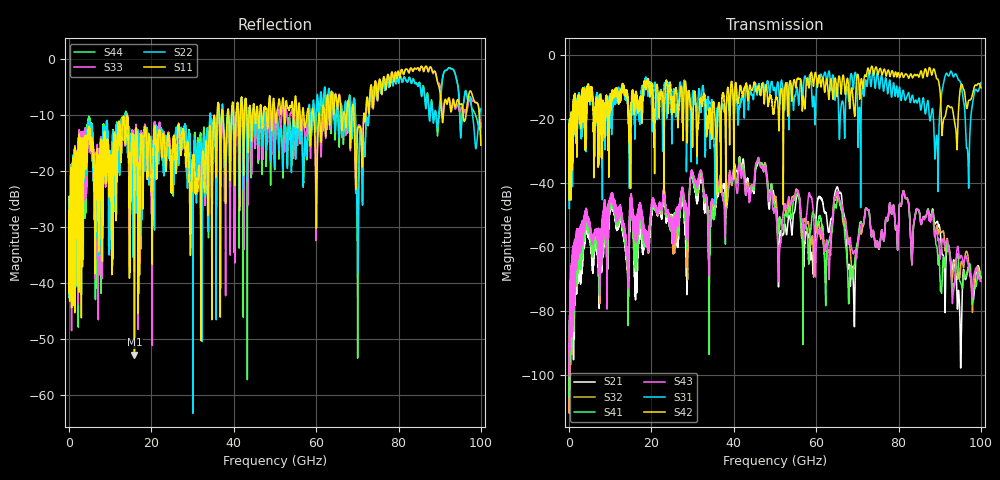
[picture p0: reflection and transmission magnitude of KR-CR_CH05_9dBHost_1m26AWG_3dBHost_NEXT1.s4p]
# GHz S MA R 50.00
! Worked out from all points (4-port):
!   10000 points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, 10 MHz to 100 GHz, reference 50 ohm
!   strongest paths, dB at 10 MHz, 25.01 GHz, 50.01 GHz, 75.01 GHz, 100 GHz:
!     S42: -28.5, -16.1, -14.7, -6.1, -10.2
!     S31: -28.5, -21.8, -10.5, -6.3, -8.6
!     S43: -91.0, -51.9, -48.4, -59.0, -70.4
!     S41: -90.9, -51.2, -47.7, -59.0, -69.4
!     S32: -92.7, -51.7, -44.3, -59.2, -70.6
!     S21: -91.3, -50.2, -44.9, -59.2, -69.8
!   lowest |S11| = -52.8 dB at 15.87 GHz (marker M1), VSWR 1.00, Z = 49.8 + j0.166 ohm
!   |S11| at or under -10 dB: start of sweep to 14.13 GHz; 14.14 GHz to 35.22 GHz (21.08 GHz wide, 85.4 % of centre); 69.17 GHz to 71.55 GHz (2.375 GHz wide, 3.38 % of centre) (the widest 3 of 35)
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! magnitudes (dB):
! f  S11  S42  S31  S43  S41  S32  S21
! 10 MHz  -24.5  -28.5  -28.5  -91.0  -90.9  -92.7  -91.3
! 15.87 GHz  -52.8  -15.2  -21.7  -55.2  -63.5  -60.0  -69.3
! 46.24 GHz  -10.5  -11.0  -9.5  -33.6  -33.5  -33.5  -34.0
! 51.06 GHz  -7.1  -19.5  -14.1  -63.4  -50.8  -54.7  -59.5
! 68.23 GHz  -14.5  -15.3  -7.9  -57.0  -66.8  -60.3  -70.3
! 81.39 GHz  -2.4  -6.5  -12.7  -43.2  -43.3  -43.1  -43.2
! 100 GHz  -15.4  -10.2  -8.6  -70.4  -69.4  -70.6  -69.8
